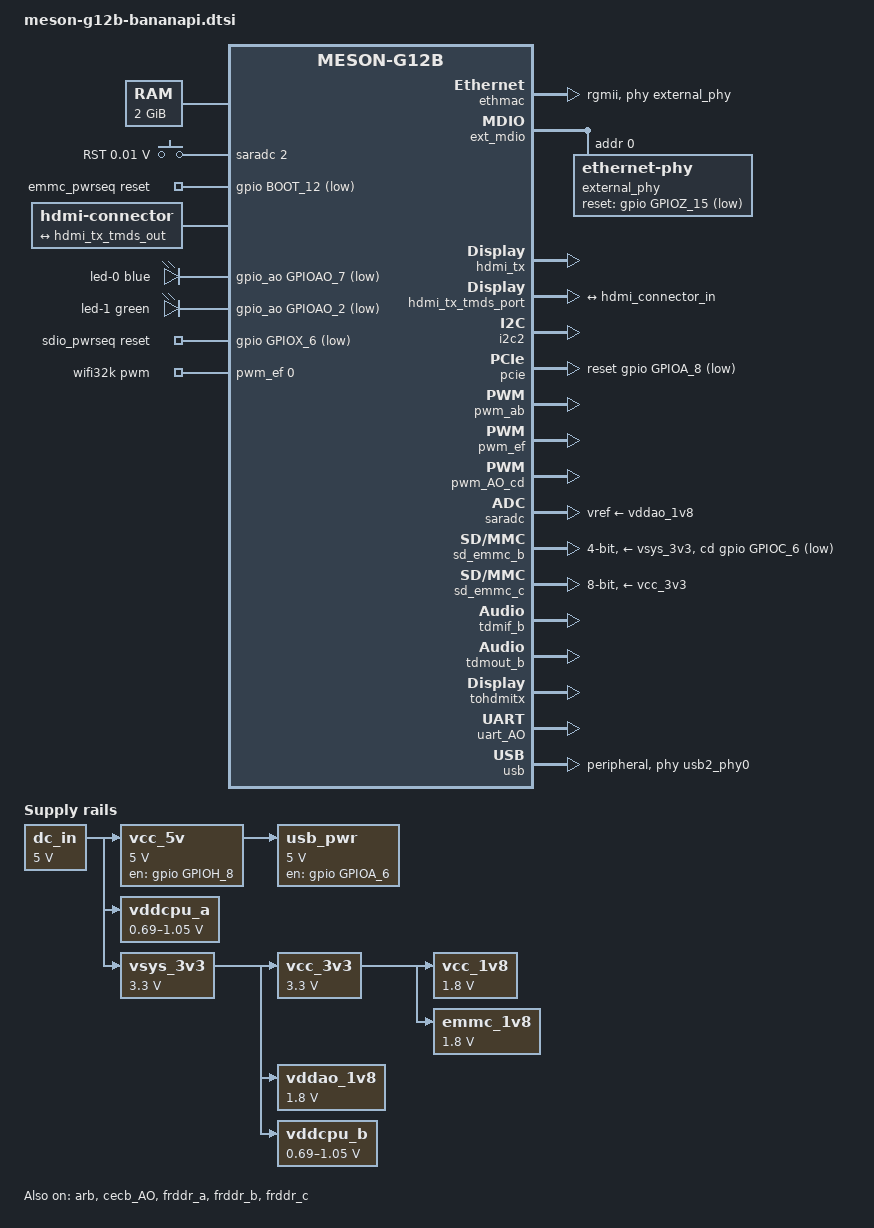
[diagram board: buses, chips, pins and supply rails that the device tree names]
// SPDX-License-Identifier: (GPL-2.0+ OR MIT)
/*
 * Copyright (c) 2019 BayLibre, SAS
 * Author: Neil Armstrong <narmstrong@baylibre.com>
 * Copyright (c) 2023 Christian Hewitt <christianshewitt@gmail.com>
 */

#include <dt-bindings/input/input.h>
#include <dt-bindings/leds/common.h>
#include <dt-bindings/gpio/meson-g12a-gpio.h>
#include <dt-bindings/sound/meson-g12a-tohdmitx.h>

/ {
	aliases {
		serial0 = &uart_AO;
		ethernet0 = &ethmac;
		rtc1 = &vrtc;
	};

	chosen {
		stdout-path = "serial0:115200n8";
	};

	memory@0 {
		device_type = "memory";
		reg = <0x0 0x0 0x0 0x80000000>; /* 2 GiB or 4 GiB */
	};

	adc-keys {
		compatible = "adc-keys";
		io-channels = <&saradc 2>;
		io-channel-names = "buttons";
		keyup-threshold-microvolt = <1710000>;

		button-function {
			label = "RST";
			linux,code = <KEY_POWER>;
			press-threshold-microvolt = <10000>;
		};
	};

	emmc_pwrseq: emmc-pwrseq {
		compatible = "mmc-pwrseq-emmc";
		reset-gpios = <&gpio BOOT_12 GPIO_ACTIVE_LOW>;
	};

	hdmi-connector {
		compatible = "hdmi-connector";
		type = "a";

		port {
			hdmi_connector_in: endpoint {
				remote-endpoint = <&hdmi_tx_tmds_out>;
			};
		};
	};

	leds {
		compatible = "gpio-leds";

		led-0 {
			color = <LED_COLOR_ID_BLUE>;
			function = LED_FUNCTION_STATUS;
			gpios = <&gpio_ao GPIOAO_7 GPIO_ACTIVE_LOW>;
			linux,default-trigger = "heartbeat";
		};

		led-1 {
			color = <LED_COLOR_ID_GREEN>;
			function = LED_FUNCTION_STATUS;
			gpios = <&gpio_ao GPIOAO_2 GPIO_ACTIVE_LOW>;
		};
	};

	sdio_pwrseq: sdio-pwrseq {
		compatible = "mmc-pwrseq-simple";
		reset-gpios = <&gpio GPIOX_6 GPIO_ACTIVE_LOW>;
		clocks = <&wifi32k>;
		clock-names = "ext_clock";
	};

	wifi32k: wifi32k {
		compatible = "pwm-clock";
		#clock-cells = <0>;
		clock-frequency = <32768>;
		pwms = <&pwm_ef 0 30518 0>; /* PWM_E at 32.768KHz */
	};

	dc_in: regulator-dc-in {
		compatible = "regulator-fixed";
		regulator-name = "DC_IN";
		regulator-min-microvolt = <5000000>;
		regulator-max-microvolt = <5000000>;
		regulator-always-on;
	};

	vcc_5v: regulator-vcc-5v {
		compatible = "regulator-fixed";
		regulator-name = "VCC_5V";
		regulator-min-microvolt = <5000000>;
		regulator-max-microvolt = <5000000>;
		vin-supply = <&dc_in>;

		gpio = <&gpio GPIOH_8 GPIO_OPEN_DRAIN>;
		enable-active-high;
	};

	vcc_3v3: regulator-vcc-3v3 {
		compatible = "regulator-fixed";
		regulator-name = "VCC_3V3";
		regulator-min-microvolt = <3300000>;
		regulator-max-microvolt = <3300000>;
		vin-supply = <&vsys_3v3>;
		regulator-always-on;
	};

	vcc_1v8: regulator-vcc-1v8 {
		compatible = "regulator-fixed";
		regulator-name = "VCC_1V8";
		regulator-min-microvolt = <1800000>;
		regulator-max-microvolt = <1800000>;
		vin-supply = <&vcc_3v3>;
		regulator-always-on;
	};

	vddao_1v8: regulator-vddao-1v8 {
		compatible = "regulator-fixed";
		regulator-name = "VDDIO_AO1V8";
		regulator-min-microvolt = <1800000>;
		regulator-max-microvolt = <1800000>;
		vin-supply = <&vsys_3v3>;
		regulator-always-on;
	};

	vddcpu_a: regulator-vddcpu-a {
		compatible = "pwm-regulator";
		regulator-name = "VDDCPU_A";
		regulator-min-microvolt = <690000>;
		regulator-max-microvolt = <1050000>;
		pwm-supply = <&dc_in>;
		pwms = <&pwm_ab 0 1250 0>;
		pwm-dutycycle-range = <100 0>;
		regulator-boot-on;
		regulator-always-on;
	};

	vddcpu_b: regulator-vddcpu-b {
		compatible = "pwm-regulator";
		regulator-name = "VDDCPU_B";
		regulator-min-microvolt = <690000>;
		regulator-max-microvolt = <1050000>;
		pwm-supply = <&vsys_3v3>;
		pwms = <&pwm_AO_cd 1 1250 0>;
		pwm-dutycycle-range = <100 0>;
		regulator-boot-on;
		regulator-always-on;
	};

	vsys_3v3: regulator-vsys-3v3 {
		compatible = "regulator-fixed";
		regulator-name = "VSYS_3V3";
		regulator-min-microvolt = <3300000>;
		regulator-max-microvolt = <3300000>;
		vin-supply = <&dc_in>;
		regulator-always-on;
	};

	emmc_1v8: regulator-emmc-1v8 {
		compatible = "regulator-fixed";
		regulator-name = "EMMC_AO1V8";
		regulator-min-microvolt = <1800000>;
		regulator-max-microvolt = <1800000>;
		vin-supply = <&vcc_3v3>;
		regulator-always-on;
	};

	usb_pwr: regulator-usb-pwr {
		compatible = "regulator-fixed";
		regulator-name = "USB_PWR";
		regulator-min-microvolt = <5000000>;
		regulator-max-microvolt = <5000000>;
		vin-supply = <&vcc_5v>;

		gpio = <&gpio GPIOA_6 GPIO_ACTIVE_HIGH>;
		enable-active-high;
	};

	sound {
		compatible = "amlogic,axg-sound-card";
		model = "BPI-M2S";
		audio-aux-devs = <&tdmout_b>;
		audio-routing = "TDMOUT_B IN 0", "FRDDR_A OUT 1",
				"TDMOUT_B IN 1", "FRDDR_B OUT 1",
				"TDMOUT_B IN 2", "FRDDR_C OUT 1",
				"TDM_B Playback", "TDMOUT_B OUT";

		clocks = <&clkc CLKID_MPLL2>,
			 <&clkc CLKID_MPLL0>,
			 <&clkc CLKID_MPLL1>;

		assigned-clocks = <&clkc CLKID_MPLL2>,
				  <&clkc CLKID_MPLL0>,
				  <&clkc CLKID_MPLL1>;
		assigned-clock-parents = <0>, <0>, <0>;
		assigned-clock-rates = <294912000>,
				       <270950400>,
				       <393216000>;

		dai-link-0 {
			sound-dai = <&frddr_a>;
		};

		dai-link-1 {
			sound-dai = <&frddr_b>;
		};

		dai-link-2 {
			sound-dai = <&frddr_c>;
		};

		/* 8ch hdmi interface */
		dai-link-3 {
			sound-dai = <&tdmif_b>;
			dai-format = "i2s";
			dai-tdm-slot-tx-mask-0 = <1 1>;
			dai-tdm-slot-tx-mask-1 = <1 1>;
			dai-tdm-slot-tx-mask-2 = <1 1>;
			dai-tdm-slot-tx-mask-3 = <1 1>;
			mclk-fs = <256>;

			codec {
				sound-dai = <&tohdmitx TOHDMITX_I2S_IN_B>;
			};
		};

		/* hdmi glue */
		dai-link-4 {
			sound-dai = <&tohdmitx TOHDMITX_I2S_OUT>;

			codec {
				sound-dai = <&hdmi_tx>;
			};
		};
	};
};

&arb {
	status = "okay";
};

&clkc_audio {
	status = "okay";
};

&cecb_AO {
	pinctrl-0 = <&cec_ao_b_h_pins>;
	pinctrl-names = "default";
	status = "okay";
	hdmi-phandle = <&hdmi_tx>;
};

&cpu0 {
	cpu-supply = <&vddcpu_b>;
	operating-points-v2 = <&cpu_opp_table_0>;
	clocks = <&clkc CLKID_CPU_CLK>;
	clock-latency = <50000>;
};

&cpu1 {
	cpu-supply = <&vddcpu_b>;
	operating-points-v2 = <&cpu_opp_table_0>;
	clocks = <&clkc CLKID_CPU_CLK>;
	clock-latency = <50000>;
};

&cpu100 {
	cpu-supply = <&vddcpu_a>;
	operating-points-v2 = <&cpub_opp_table_1>;
	clocks = <&clkc CLKID_CPUB_CLK>;
	clock-latency = <50000>;
};

&cpu101 {
	cpu-supply = <&vddcpu_a>;
	operating-points-v2 = <&cpub_opp_table_1>;
	clocks = <&clkc CLKID_CPUB_CLK>;
	clock-latency = <50000>;
};

&cpu102 {
	cpu-supply = <&vddcpu_a>;
	operating-points-v2 = <&cpub_opp_table_1>;
	clocks = <&clkc CLKID_CPUB_CLK>;
	clock-latency = <50000>;
};

&cpu103 {
	cpu-supply = <&vddcpu_a>;
	operating-points-v2 = <&cpub_opp_table_1>;
	clocks = <&clkc CLKID_CPUB_CLK>;
	clock-latency = <50000>;
};

&ethmac {
	pinctrl-0 = <&eth_pins>, <&eth_rgmii_pins>;
	pinctrl-names = "default";
	status = "okay";
	phy-mode = "rgmii";
	phy-handle = <&external_phy>;
	amlogic,tx-delay-ns = <2>;
};

&ext_mdio {
	external_phy: ethernet-phy@0 {
		/* Realtek RTL8211F (0x001cc916) */
		reg = <0>;
		max-speed = <1000>;

		reset-assert-us = <10000>;
		reset-deassert-us = <80000>;
		reset-gpios = <&gpio GPIOZ_15 (GPIO_ACTIVE_LOW | GPIO_OPEN_DRAIN)>;

		interrupt-parent = <&gpio_intc>;
		/* MAC_INTR on GPIOZ_14 */
		interrupts = <IRQID_GPIOZ_14 IRQ_TYPE_LEVEL_LOW>;
	};
};

&frddr_a {
	status = "okay";
};

&frddr_b {
	status = "okay";
};

&frddr_c {
	status = "okay";
};

&hdmi_tx {
	status = "okay";
	pinctrl-0 = <&hdmitx_hpd_pins>, <&hdmitx_ddc_pins>;
	pinctrl-names = "default";
	hdmi-supply = <&vcc_5v>;
};

&hdmi_tx_tmds_port {
	hdmi_tx_tmds_out: endpoint {
		remote-endpoint = <&hdmi_connector_in>;
	};
};

/* Main i2c bus */
&i2c2 {
	status = "okay";
	pinctrl-0 = <&i2c2_sda_x_pins>, <&i2c2_sck_x_pins>;
	pinctrl-names = "default";
};

&pcie {
	status = "okay";
	reset-gpios = <&gpio GPIOA_8 GPIO_ACTIVE_LOW>;
};

&pwm_ab {
	status = "okay";
	pinctrl-0 = <&pwm_a_e_pins>;
	pinctrl-names = "default";
	clocks = <&xtal>;
	clock-names = "clkin0";
};

&pwm_ef {
	status = "okay";
	pinctrl-0 = <&pwm_e_pins>;
	pinctrl-names = "default";
};

&pwm_AO_cd {
	pinctrl-0 = <&pwm_ao_d_e_pins>;
	pinctrl-names = "default";
	clocks = <&xtal>;
	clock-names = "clkin1";
	status = "okay";
};

&saradc {
	status = "okay";
	vref-supply = <&vddao_1v8>;
};

/* SDIO */
&sd_emmc_a {
	/* enable if WiFi/BT board connected */
	status = "disabled";
	pinctrl-0 = <&sdio_pins>;
	pinctrl-1 = <&sdio_clk_gate_pins>;
	pinctrl-names = "default", "clk-gate";
	#address-cells = <1>;
	#size-cells = <0>;

	bus-width = <4>;
	sd-uhs-sdr104;
	max-frequency = <50000000>;

	non-removable;
	disable-wp;

	/* WiFi firmware requires power in suspend */
	keep-power-in-suspend;

	mmc-pwrseq = <&sdio_pwrseq>;

	vmmc-supply = <&vsys_3v3>;
	vqmmc-supply = <&vddao_1v8>;

	rtl8822cs: wifi@1 {
		reg = <1>;
	};
};

/* SD card */
&sd_emmc_b {
	status = "okay";
	pinctrl-0 = <&sdcard_c_pins>;
	pinctrl-1 = <&sdcard_clk_gate_c_pins>;
	pinctrl-names = "default", "clk-gate";

	bus-width = <4>;
	cap-sd-highspeed;
	max-frequency = <50000000>;
	disable-wp;

	cd-gpios = <&gpio GPIOC_6 GPIO_ACTIVE_LOW>;
	vmmc-supply = <&vsys_3v3>;
	vqmmc-supply = <&vsys_3v3>;
};

/* eMMC */
&sd_emmc_c {
	status = "okay";
	pinctrl-0 = <&emmc_ctrl_pins>, <&emmc_data_8b_pins>, <&emmc_ds_pins>;
	pinctrl-1 = <&emmc_clk_gate_pins>;
	pinctrl-names = "default", "clk-gate";

	bus-width = <8>;
	cap-mmc-highspeed;
	mmc-ddr-1_8v;
	mmc-hs200-1_8v;
	max-frequency = <200000000>;
	disable-wp;

	mmc-pwrseq = <&emmc_pwrseq>;
	vmmc-supply = <&vcc_3v3>;
	vqmmc-supply = <&emmc_1v8>;
};

&tdmif_b {
	status = "okay";
};

&tdmout_b {
	status = "okay";
};

&tohdmitx {
	status = "okay";
};

&uart_A {
	/* enable if WiFi/BT board connected */
	status = "disabled";
	pinctrl-0 = <&uart_a_pins>, <&uart_a_cts_rts_pins>;
	pinctrl-names = "default";
	uart-has-rtscts;

	bluetooth {
		compatible = "realtek,rtl8822cs-bt";
		enable-gpios = <&gpio GPIOX_17 GPIO_ACTIVE_HIGH>;
		host-wake-gpios = <&gpio GPIOX_19 GPIO_ACTIVE_HIGH>;
		device-wake-gpios = <&gpio GPIOX_18 GPIO_ACTIVE_HIGH>;
	};
};

&uart_AO {
	status = "okay";
	pinctrl-0 = <&uart_ao_a_pins>;
	pinctrl-names = "default";
};

&usb2_phy0 {
	phy-supply = <&dc_in>;
};

&usb2_phy1 {
	phy-supply = <&usb_pwr>;
};

&usb3_pcie_phy {
	phy-supply = <&usb_pwr>;
};

&usb {
	status = "okay";
	dr_mode = "peripheral";
	phys = <&usb2_phy0>, <&usb2_phy1>;
	phy-names = "usb2-phy0", "usb2-phy1";
};
